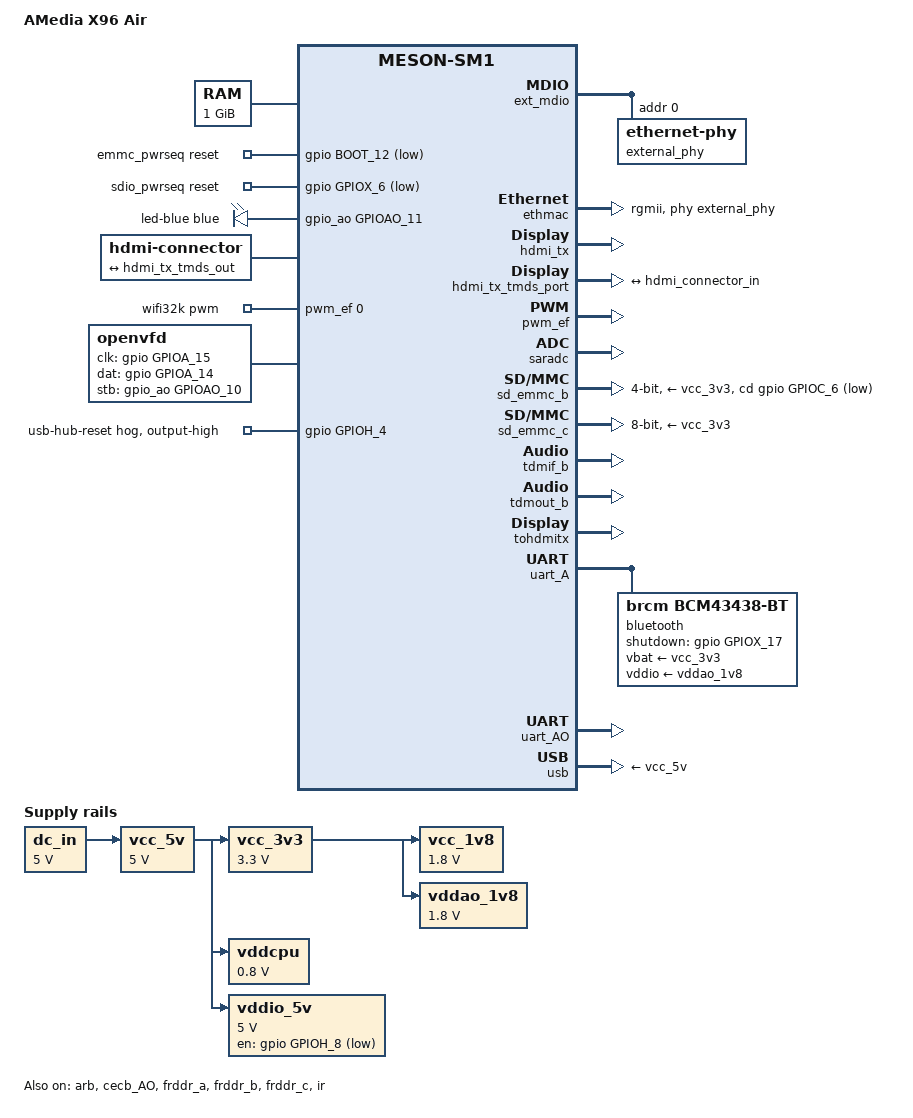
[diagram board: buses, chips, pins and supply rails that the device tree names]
// SPDX-License-Identifier: (GPL-2.0+ OR MIT)
/*
 * Copyright (c) 2020 Dongjin Kim <tobetter@gmail.com>
 */

/dts-v1/;

#include "meson-sm1.dtsi"
#include <dt-bindings/gpio/meson-g12a-gpio.h>
#include <dt-bindings/leds/common.h>
#include <dt-bindings/sound/meson-g12a-tohdmitx.h>

/ {
	compatible = "amedia,x96", "amlogic,sm1";
	model = "AMedia X96 Air";

	aliases {
		serial0 = &uart_AO;
		ethernet0 = &ethmac;
	};

	chosen {
		stdout-path = "serial0:115200n8";
	};

	memory@0 {
		device_type = "memory";
		reg = <0x0 0x0 0x0 0x40000000>;
	};

	emmc_pwrseq: emmc-pwrseq {
		compatible = "mmc-pwrseq-emmc";
		reset-gpios = <&gpio BOOT_12 GPIO_ACTIVE_LOW>;
	};

	sdio_pwrseq: sdio-pwrseq {
		compatible = "mmc-pwrseq-simple";
		reset-gpios = <&gpio GPIOX_6 GPIO_ACTIVE_LOW>;
		clocks = <&wifi32k>;
		clock-names = "ext_clock";
	};

	leds {
		compatible = "gpio-leds";

		led-blue {
			color = <LED_COLOR_ID_BLUE>;
			function = LED_FUNCTION_STATUS;
			gpios = <&gpio_ao GPIOAO_11 GPIO_ACTIVE_HIGH>;
			linux,default-trigger = "heartbeat";
			panic-indicator;
		};
	};

	dc_in: regulator-dc_in {
		compatible = "regulator-fixed";
		regulator-name = "DC_IN";
		regulator-min-microvolt = <5000000>;
		regulator-max-microvolt = <5000000>;
		regulator-always-on;
	};

	vcc_5v: regulator-vcc_5v {
		compatible = "regulator-fixed";
		regulator-name = "VCC_5V";
		regulator-min-microvolt = <5000000>;
		regulator-max-microvolt = <5000000>;
		regulator-always-on;
		vin-supply = <&dc_in>;
	};

	vcc_1v8: regulator-vcc_1v8 {
		compatible = "regulator-fixed";
		regulator-name = "VCC_1V8";
		regulator-min-microvolt = <1800000>;
		regulator-max-microvolt = <1800000>;
		vin-supply = <&vcc_3v3>;
		regulator-always-on;
	};

	vddao_1v8: regulator-vddao_1v8 {
		compatible = "regulator-fixed";
		regulator-name = "VDDAO_1V8";
		regulator-min-microvolt = <1800000>;
		regulator-max-microvolt = <1800000>;
		vin-supply = <&vcc_3v3>;
		regulator-always-on;
	};

	vcc_3v3: regulator-vcc_3v3 {
		compatible = "regulator-fixed";
		regulator-name = "VCC_3V3";
		regulator-min-microvolt = <3300000>;
		regulator-max-microvolt = <3300000>;
		vin-supply = <&vcc_5v>;
		regulator-always-on;
	};

	vddcpu: regulator-vddcpu {
		compatible = "regulator-fixed";
		regulator-name = "VDDCPU";
		regulator-min-microvolt = <800000>;
		regulator-max-microvolt = <800000>;
		vin-supply = <&vcc_5v>;
		regulator-always-on;
	};

	/* Used by USB & HDMI_TX */
	vddio_5v: regulator-vddio_5v {
		compatible = "regulator-fixed";
		regulator-name = "VDDIO_5V";
		regulator-min-microvolt = <5000000>;
		regulator-max-microvolt = <5000000>;
		vin-supply = <&vcc_5v>;
		gpio = <&gpio GPIOH_8 GPIO_OPEN_DRAIN>;
		enable-active-low;
		regulator-always-on;
	};

	hdmi-connector {
		compatible = "hdmi-connector";
		type = "a";

		port {
			hdmi_connector_in: endpoint {
				remote-endpoint = <&hdmi_tx_tmds_out>;
			};
		};
	};

	sound {
		compatible = "amlogic,axg-sound-card";
		model = "SM1-ODROID-C4";
		audio-aux-devs = <&tdmout_b>;
		audio-routing = "TDMOUT_B IN 0", "FRDDR_A OUT 1",
				"TDMOUT_B IN 1", "FRDDR_B OUT 1",
				"TDMOUT_B IN 2", "FRDDR_C OUT 1",
				"TDM_B Playback", "TDMOUT_B OUT";

		assigned-clocks = <&clkc CLKID_MPLL2>,
				  <&clkc CLKID_MPLL0>,
				  <&clkc CLKID_MPLL1>;
		assigned-clock-parents = <0>, <0>, <0>;
		assigned-clock-rates = <294912000>,
				       <270950400>,
				       <393216000>;
		status = "okay";

		dai-link-0 {
			sound-dai = <&frddr_a>;
		};

		dai-link-1 {
			sound-dai = <&frddr_b>;
		};

		dai-link-2 {
			sound-dai = <&frddr_c>;
		};

		/* 8ch hdmi interface */
		dai-link-3 {
			sound-dai = <&tdmif_b>;
			dai-format = "i2s";
			dai-tdm-slot-tx-mask-0 = <1 1>;
			dai-tdm-slot-tx-mask-1 = <1 1>;
			dai-tdm-slot-tx-mask-2 = <1 1>;
			dai-tdm-slot-tx-mask-3 = <1 1>;
			mclk-fs = <256>;

			codec {
				sound-dai = <&tohdmitx TOHDMITX_I2S_IN_B>;
			};
		};

		/* hdmi glue */
		dai-link-4 {
			sound-dai = <&tohdmitx TOHDMITX_I2S_OUT>;

			codec {
				sound-dai = <&hdmi_tx>;
			};
		};
	};

	wifi32k: wifi32k {
		compatible = "pwm-clock";
		#clock-cells = <0>;
		clock-frequency = <32768>;
		pwms = <&pwm_ef 0 30518 0>; /* PWM_E at 32.768KHz */
	};

	vfd {
		compatible = "openvfd";
		status = "okay";
		vfd_chars = <4 0 1 2 3>;
		vfd_dot_bits = <0 1 2 3 4 5 6>;
		vfd_display_type = <0x2 0x0 0x1 0x0>;
		vfd_brightness = <0xFF>;

		gpio-clk = <&gpio GPIOA_15 GPIO_ACTIVE_HIGH>;
		gpio-dat = <&gpio GPIOA_14 GPIO_ACTIVE_HIGH>;
		gpio-stb = <&gpio_ao GPIOAO_10 GPIO_ACTIVE_HIGH>;
	};
};

&arb {
	status = "okay";
};

&clkc_audio {
	status = "okay";
};

&cpu0 {
	cpu-supply = <&vddcpu>;
	operating-points-v2 = <&cpu_opp_table>;
	clocks = <&clkc CLKID_CPU_CLK>;
	clock-latency = <50000>;
};

&cpu1 {
	cpu-supply = <&vddcpu>;
	operating-points-v2 = <&cpu_opp_table>;
	clocks = <&clkc CLKID_CPU1_CLK>;
	clock-latency = <50000>;
};

&cpu2 {
	cpu-supply = <&vddcpu>;
	operating-points-v2 = <&cpu_opp_table>;
	clocks = <&clkc CLKID_CPU2_CLK>;
	clock-latency = <50000>;
};

&cpu3 {
	cpu-supply = <&vddcpu>;
	operating-points-v2 = <&cpu_opp_table>;
	clocks = <&clkc CLKID_CPU3_CLK>;
	clock-latency = <50000>;
};

&cec_AO {
	pinctrl-0 = <&cec_ao_a_h_pins>;
	pinctrl-names = "default";
	status = "disabled";
	hdmi-phandle = <&hdmi_tx>;
};

&cecb_AO {
	pinctrl-0 = <&cec_ao_b_h_pins>;
	pinctrl-names = "default";
	status = "okay";
	hdmi-phandle = <&hdmi_tx>;
};

&ext_mdio {
	external_phy: ethernet-phy@0 {
		/* Realtek RTL8211F (0x001cc916) */
		reg = <0>;
		max-speed = <1000>;

		interrupt-parent = <&gpio_intc>;
		/* MAC_INTR on GPIOZ_14 */
		interrupts = <26 IRQ_TYPE_LEVEL_LOW>;
	};
};

&ethmac {
	pinctrl-0 = <&eth_pins>, <&eth_rgmii_pins>;
	pinctrl-names = "default";
	status = "okay";
	phy-mode = "rgmii";
	phy-handle = <&external_phy>;
	amlogic,tx-delay-ns = <2>;
};

&frddr_a {
	status = "okay";
};

&frddr_b {
	status = "okay";
};

&frddr_c {
	status = "okay";
};

&gpio {
	gpio-line-names =
		/* GPIOZ */
		"", "", "", "", "", "", "", "",
		"", "", "", "", "", "", "", "",
		/* GPIOH */
		"", "", "", "", "",
		"PIN_36", /* GPIOH_5 */
		"PIN_26", /* GPIOH_6 */
		"PIN_32", /* GPIOH_7 */
		"",
		/* BOOT */
		"", "", "", "", "", "", "", "",
		"", "", "", "", "", "", "", "",
		/* GPIOC */
		"", "", "", "", "", "", "", "",
		/* GPIOA */
		"", "", "", "", "", "", "", "",
		"", "", "", "", "", "",
		"PIN_27", /* GPIOA_14 */
		"PIN_28", /* GPIOA_15 */
		/* GPIOX */
		"PIN_16", /* GPIOX_0 */
		"PIN_18", /* GPIOX_1 */
		"PIN_22", /* GPIOX_2 */
		"PIN_11", /* GPIOX_3 */
		"PIN_13", /* GPIOX_4 */
		"PIN_7",  /* GPIOX_5 */
		"PIN_33", /* GPIOX_6 */
		"PIN_15", /* GPIOX_7 */
		"PIN_19", /* GPIOX_8 */
		"PIN_21", /* GPIOX_9 */
		"PIN_24", /* GPIOX_10 */
		"PIN_23", /* GPIOX_11 */
		"PIN_8",  /* GPIOX_12 */
		"PIN_10", /* GPIOX_13 */
		"PIN_29", /* GPIOX_14 */
		"PIN_31", /* GPIOX_15 */
		"PIN_12", /* GPIOX_16 */
		"PIN_3",  /* GPIOX_17 */
		"PIN_5",  /* GPIOX_18 */
		"PIN_35"; /* GPIOX_19 */

	/*
	 * WARNING: The USB Hub on the Odroid-C4 needs a reset signal
	 * to be turned high in order to be detected by the USB Controller
	 * This signal should be handled by a USB specific power sequence
	 * in order to reset the Hub when USB bus is powered down.
	 */
	usb-hub {
		gpio-hog;
		gpios = <GPIOH_4 GPIO_ACTIVE_HIGH>;
		output-high;
		line-name = "usb-hub-reset";
	};
};

&gpio_ao {
	gpio-line-names =
		/* GPIOAO */
		"", "", "", "",
		"PIN_47", /* GPIOAO_4 */
		"", "",
		"PIN_45", /* GPIOAO_7 */
		"PIN_46", /* GPIOAO_8 */
		"PIN_44", /* GPIOAO_9 */
		"PIN_42", /* GPIOAO_10 */
		"",
		/* GPIOE */
		"", "", "";
};

&hdmi_tx {
	status = "okay";
	pinctrl-0 = <&hdmitx_hpd_pins>, <&hdmitx_ddc_pins>;
	pinctrl-names = "default";
	hdmi-supply = <&vddio_5v>;
};

&hdmi_tx_tmds_port {
	hdmi_tx_tmds_out: endpoint {
		remote-endpoint = <&hdmi_connector_in>;
	};
};

&ir {
	status = "okay";
	pinctrl-0 = <&remote_input_ao_pins>;
	pinctrl-names = "default";
	linux,rc-map-name = "rc-odroid";
};

&pwm_ef {
	status = "okay";
	pinctrl-0 = <&pwm_e_pins>;
	pinctrl-names = "default";
	clocks = <&xtal>;
	clock-names = "clkin0";
};

&saradc {
	status = "okay";
};

/* SDIO */
&sd_emmc_a {
	status = "disabled";
	pinctrl-0 = <&sdio_pins>;
	pinctrl-1 = <&sdio_clk_gate_pins>;
	pinctrl-names = "default", "clk-gate";
	#address-cells = <1>;
	#size-cells = <0>;

	bus-width = <4>;
	cap-sd-highspeed;
	sd-uhs-sdr50;
	max-frequency = <100000000>;

	non-removable;
	disable-wp;

	/* WiFi firmware requires power to be kept while in suspend */
	keep-power-in-suspend;

	mmc-pwrseq = <&sdio_pwrseq>;

	vmmc-supply = <&vcc_3v3>;
	vqmmc-supply = <&vddao_1v8>;

	brcmf: wifi@1 {
		reg = <1>;
		compatible = "brcm,bcm4329-fmac";
	};
};

/* SD card */
&sd_emmc_b {
	status = "okay";
	pinctrl-0 = <&sdcard_c_pins>;
	pinctrl-1 = <&sdcard_clk_gate_c_pins>;
	pinctrl-names = "default", "clk-gate";

	bus-width = <4>;
	cap-sd-highspeed;
	max-frequency = <200000000>;
	sd-uhs-sdr12;
	sd-uhs-sdr25;
	sd-uhs-sdr50;
	sd-uhs-sdr104;
	disable-wp;

	cd-gpios = <&gpio GPIOC_6 GPIO_ACTIVE_LOW>;
	vmmc-supply = <&vcc_3v3>;
	vqmmc-supply = <&vcc_3v3>;
};

/* eMMC */
&sd_emmc_c {
	status = "okay";
	pinctrl-0 = <&emmc_ctrl_pins>, <&emmc_data_8b_pins>, <&emmc_ds_pins>;
	pinctrl-1 = <&emmc_clk_gate_pins>;
	pinctrl-names = "default", "clk-gate";

	bus-width = <8>;
	cap-mmc-highspeed;
	mmc-ddr-1_8v;
	mmc-hs200-1_8v;
	max-frequency = <200000000>;
	disable-wp;

	mmc-pwrseq = <&emmc_pwrseq>;
	vmmc-supply = <&vcc_3v3>;
	vqmmc-supply = <&vddao_1v8>;
};

&tdmif_b {
	status = "okay";
};

&tdmout_b {
	status = "okay";
};

&tohdmitx {
	status = "okay";
};

&uart_A {
	status = "okay";
	pinctrl-0 = <&uart_a_pins>, <&uart_a_cts_rts_pins>;
	pinctrl-names = "default";
	uart-has-rtscts;

	bluetooth {
		compatible = "brcm,bcm43438-bt";
		interrupt-parent = <&gpio_intc>;
		interrupts = <95 IRQ_TYPE_LEVEL_HIGH>;
		interrupt-names = "host-wakeup";
		shutdown-gpios = <&gpio GPIOX_17 GPIO_ACTIVE_HIGH>;
		max-speed = <2000000>;
		clocks = <&wifi32k>;
		clock-names = "lpo";
		vbat-supply = <&vcc_3v3>;
		vddio-supply = <&vddao_1v8>;
	};
};

&uart_AO {
	status = "okay";
	pinctrl-0 = <&uart_ao_a_pins>;
	pinctrl-names = "default";
};

&usb {
	status = "okay";
	vbus-supply = <&vcc_5v>;
};

&usb2_phy0 {
	phy-supply = <&vcc_5v>;
};

&usb2_phy1 {
	/* Enable the hub which is connected to this port */
	phy-supply = <&vddio_5v>;
};
